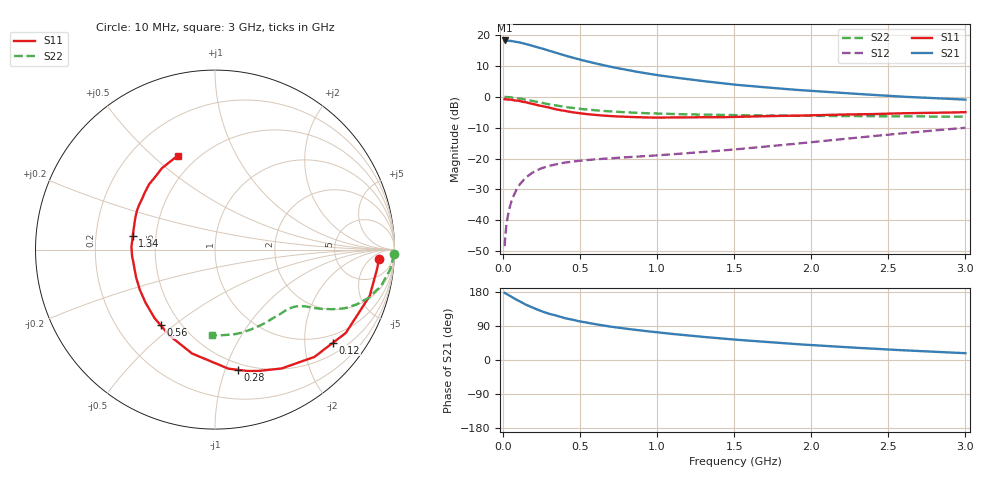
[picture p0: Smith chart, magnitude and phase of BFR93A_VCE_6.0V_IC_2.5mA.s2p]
! Infineon Technologies  Discrete & RF Semiconductors
! BFR93A
! VCE =  6.0 V,  IC =  2.5 mA
! Common Emitter S-Parameters:  Nov 2015
# GHz  S  MA  R  50
!  f  S11  S21  S12  S22
! GHz  MAG  ANG  MAG  ANG  MAG  ANG  MAG  ANG
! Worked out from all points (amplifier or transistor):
!   180 points, 10 MHz to 3 GHz, reference 50 ohm
!   highest |S21| = 18.3 dB at 10 MHz (marker M1)
!   |S21| within 3 dB of that: start of sweep to 277.9 MHz
!   unconditionally stable (mu >= 1): 937.7 MHz to 2.501 GHz
!   at 160 MHz: K = 0.22, MSG = 21.3 dB, |S12| = -25.7 dB
!   at 1.22 GHz: K = 1.12, MAG = 9.8 dB, |S12| = -18.2 dB
!   at 3 GHz: K = 0.91, MSG = 4.6 dB, |S12| = -10.0 dB
!   S11 on the Smith chart (normalised r, x): 10 MHz: 16, -10; 120 MHz: 0.77, -2.69; 280 MHz: 0.44, -1.11; 560 MHz: 0.39, -0.45; 1.34 GHz: 0.37, +0.07; 3 GHz: 0.39, +0.61
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0.01  0.9151 -3.4  8.181 177.3  0.0038 87.3  0.9954 -1.4
0.02  0.9099 -6.6  8.166 174.8  0.0077 86.2  0.9935 -2.7
0.045  0.8996 -14.9  8.06 168.6  0.0169 81.4  0.9837 -5.9
0.1  0.8642 -32.5  7.684 156.2  0.0357 72.7  0.9471 -12.4
0.12  0.8379 -38.2  7.444 152.1  0.0412 69.0  0.9265 -14.3
0.15  0.815 -47.2  7.16 145.6  0.0498 65.0  0.8976 -17.4
0.2  0.7593 -60.7  6.623 136.6  0.061 59.1  0.8468 -21.1
0.24  0.7182 -70.3  6.181 130.2  0.0679 55.2  0.8076 -23.5
0.28  0.6821 -79.2  5.77 124.6  0.0736 52.1  0.7717 -25.3
0.3  0.6675 -83.6  5.576 121.9  0.0763 50.8  0.7543 -26.1
0.4  0.593 -102.4  4.671 110.5  0.0858 45.9  0.6852 -28.9
0.52  0.5331 -120.5  3.881 100.3  0.0932 42.9  0.6297 -30.9
0.56  0.5189 -125.8  3.669 97.4  0.0951 42.5  0.6162 -31.3
0.6  0.5092 -131.3  3.467 94.2  0.0971 42.2  0.6027 -31.8
0.74  0.4809 -146.1  2.923 85.8  0.1026 42.5  0.5708 -33.5
0.88  0.4668 -159.0  2.515 78.6  0.1077 43.7  0.5482 -35.4
1.02  0.4601 -169.8  2.212 72.2  0.1134 45.5  0.5335 -37.6
1.34  0.4646 170.4  1.748 59.6  0.13 50.5  0.5124 -43.6
1.52  0.4729 161.3  1.559 53.3  0.1415 53.3  0.5039 -47.6
2.02  0.5028 141.5  1.237 38.8  0.1856 58.4  0.4908 -60.5
2.52  0.5342 125.4  1.03 27.3  0.2463 58.9  0.4842 -75.3
3  0.5631 111.5  0.9 18.0  0.3151 55.8  0.4782 -92.1
